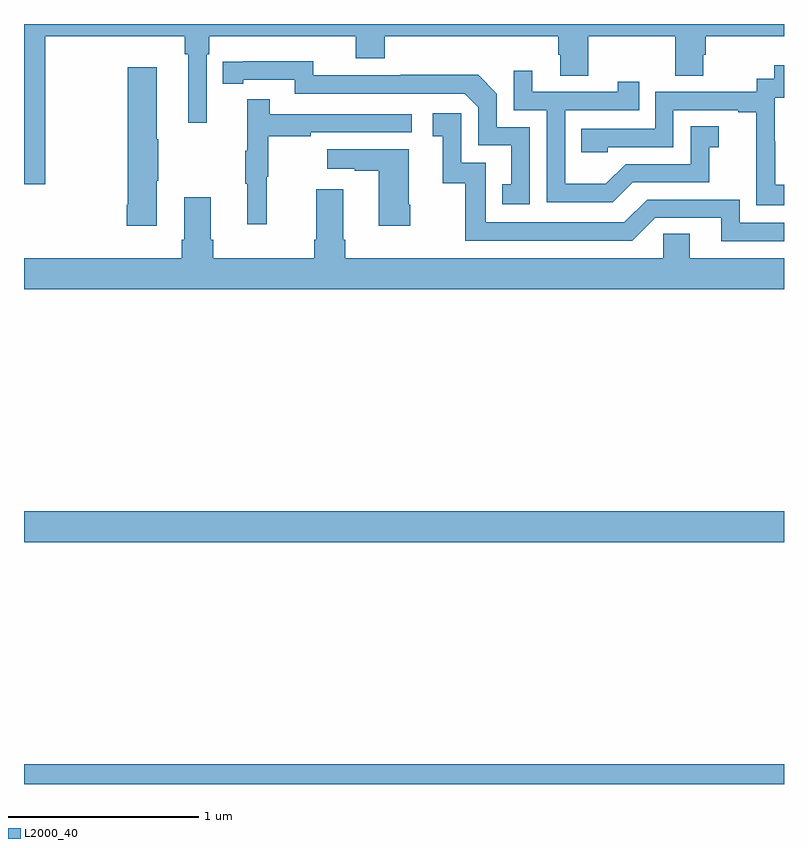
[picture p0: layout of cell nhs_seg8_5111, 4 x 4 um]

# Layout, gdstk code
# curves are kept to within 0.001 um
import gdstk
lib = gdstk.Library(unit=1e-6, precision=1e-09)
def R(c, l, rs):  # rectangles x0, y0, x1, y1
    for r in rs: c.add(gdstk.rectangle(r[:2], r[2:], *l))
def P(c, l, *ps):  # polygons
    for p in ps: c.add(gdstk.Polygon(p, *l))
L2000_40 = (2000, 40)

nhs_seg8_5111 = lib.new_cell('nhs_seg8_5111')
R(nhs_seg8_5111, L2000_40, [(419,1109.9,423,1110.004), (419,1111.172,423,1111.336)])
P(nhs_seg8_5111, L2000_40, [(419.112,1113.836),(419.845,1113.836),(419.845,1113.74),(419.864,1113.74),(419.864,1113.381),(419.961,1113.381),(419.961,1113.74),(419.975,1113.74),(419.975,1113.836),(420.746,1113.836),(420.746,1113.719),(420.899,1113.719),(420.899,1113.836),(421.811,1113.836),(421.811,1113.738),(421.823,1113.738),(421.823,1113.628),(421.971,1113.628),(421.971,1113.836),(422.428,1113.836),(422.428,1113.628),(422.575,1113.628),(422.575,1113.738),(422.588,1113.738),(422.588,1113.836),(423,1113.836),(423,1113.9),(419,1113.9),(419,1113.057),(419.112,1113.057)],
  [(421.662,1113.357),(421.488,1113.357),(421.488,1113.534),(421.39,1113.632),(420.982,1113.632),(420.982,1113.63),(420.522,1113.63),(420.522,1113.703),(420.046,1113.702),(420.046,1113.586),(420.154,1113.586),(420.154,1113.606),(420.426,1113.606),(420.426,1113.534),(421.32,1113.534),(421.392,1113.462),(421.392,1113.261),(421.565,1113.261),(421.565,1113.057),(421.516,1113.057),(421.516,1112.952),(421.662,1112.952)],
  [(423,1113.055),(422.954,1113.055),(422.954,1113.284),(422.952,1113.284),(422.952,1113.513),(423,1113.513),(423,1113.682),(422.949,1113.682),(422.949,1113.612),(422.856,1113.612),(422.856,1113.543),(422.322,1113.543),(422.322,1113.348),(421.933,1113.348),(421.933,1113.225),(422.073,1113.225),(422.073,1113.252),(422.418,1113.252),(422.418,1113.447),(422.759,1113.447),(422.759,1113.435),(422.855,1113.435),(422.855,1113.151),(422.854,1113.151),(422.854,1112.945),(423,1112.945)],
  [(419.698,1113.076),(419.706,1113.076),(419.706,1113.293),(419.698,1113.293),(419.698,1113.673),(419.545,1113.673),(419.545,1112.95),(419.54,1112.95),(419.54,1112.838),(419.698,1112.838)],
  [(422.203,1113.066),(422.607,1113.066),(422.607,1113.251),(422.656,1113.251),(422.656,1113.361),(422.508,1113.361),(422.508,1113.162),(422.166,1113.162),(422.062,1113.058),(421.848,1113.058),(421.848,1113.447),(422.237,1113.447),(422.237,1113.595),(422.126,1113.595),(422.126,1113.543),(421.675,1113.543),(421.675,1113.655),(421.578,1113.655),(421.578,1113.447),(421.752,1113.447),(421.752,1112.961),(422.098,1112.961)],
  [(420.278,1113.096),(420.286,1113.096),(420.286,1113.31),(420.509,1113.31),(420.509,1113.33),(421.042,1113.33),(421.042,1113.426),(420.293,1113.426),(420.293,1113.505),(420.176,1113.505),(420.176,1113.233),(420.165,1113.233),(420.165,1113.059),(420.176,1113.059),(420.176,1112.847),(420.278,1112.847)],
  [(423,1112.853),(422.766,1112.853),(422.766,1112.976),(422.28,1112.976),(422.16,1112.856),(421.431,1112.856),(421.431,1113.171),(421.302,1113.171),(421.302,1113.43),(421.152,1113.43),(421.152,1113.309),(421.205,1113.309),(421.205,1113.063),(421.323,1113.063),(421.323,1112.76),(422.202,1112.76),(422.322,1112.88),(422.669,1112.88),(422.669,1112.757),(423,1112.757)],
  [(421.032,1112.95),(421.024,1112.95),(421.024,1113.241),(420.597,1113.241),(420.597,1113.137),(420.74,1113.137),(420.74,1113.127),(420.866,1113.127),(420.866,1112.838),(421.032,1112.838)],
  [(423,1112.668),(422.503,1112.668),(422.503,1112.795),(422.364,1112.795),(422.364,1112.668),(420.692,1112.668),(420.692,1112.764),(420.679,1112.764),(420.679,1113.031),(420.539,1113.031),(420.539,1112.764),(420.527,1112.764),(420.527,1112.668),(419.996,1112.668),(419.996,1112.764),(419.983,1112.764),(419.983,1112.989),(419.843,1112.989),(419.843,1112.764),(419.831,1112.764),(419.831,1112.668),(419,1112.668),(419,1112.504),(423,1112.504)])

lib.write_gds('nhs_seg8_5111.gds')
